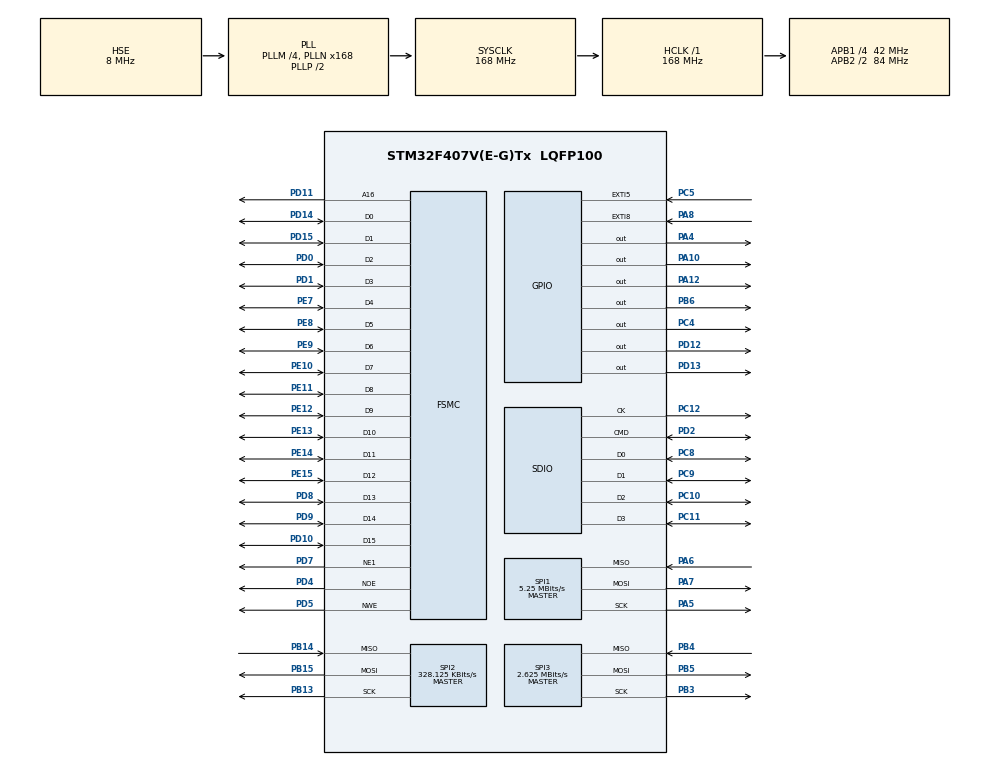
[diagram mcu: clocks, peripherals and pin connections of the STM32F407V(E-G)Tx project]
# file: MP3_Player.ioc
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Dma.Request0=SPI3_TX
Dma.Request1=SDIO_RX
Dma.Request2=SDIO_TX
Dma.SDIO_RX.1.Direction=DMA_PERIPH_TO_MEMORY
Dma.SDIO_RX.1.FIFOMode=DMA_FIFOMODE_ENABLE
Dma.SDIO_RX.1.FIFOThreshold=DMA_FIFO_THRESHOLD_FULL
Dma.SDIO_RX.1.Instance=DMA2_Stream3
Dma.SDIO_RX.1.MemBurst=DMA_MBURST_INC4
Dma.SDIO_RX.1.MemDataAlignment=DMA_MDATAALIGN_WORD
Dma.SDIO_RX.1.MemInc=DMA_MINC_ENABLE
Dma.SDIO_RX.1.Mode=DMA_PFCTRL
Dma.SDIO_RX.1.PeriphBurst=DMA_PBURST_INC4
Dma.SDIO_RX.1.PeriphDataAlignment=DMA_PDATAALIGN_WORD
Dma.SDIO_RX.1.PeriphInc=DMA_PINC_DISABLE
Dma.SDIO_RX.1.Priority=DMA_PRIORITY_HIGH
Dma.SDIO_TX.2.Direction=DMA_MEMORY_TO_PERIPH
Dma.SDIO_TX.2.FIFOMode=DMA_FIFOMODE_ENABLE
Dma.SDIO_TX.2.FIFOThreshold=DMA_FIFO_THRESHOLD_FULL
Dma.SDIO_TX.2.Instance=DMA2_Stream6
Dma.SDIO_TX.2.MemBurst=DMA_MBURST_INC4
Dma.SDIO_TX.2.MemDataAlignment=DMA_MDATAALIGN_WORD
Dma.SDIO_TX.2.MemInc=DMA_MINC_ENABLE
Dma.SDIO_TX.2.Mode=DMA_PFCTRL
Dma.SDIO_TX.2.PeriphBurst=DMA_PBURST_INC4
Dma.SDIO_TX.2.PeriphDataAlignment=DMA_PDATAALIGN_WORD
Dma.SDIO_TX.2.PeriphInc=DMA_PINC_DISABLE
Dma.SDIO_TX.2.Priority=DMA_PRIORITY_HIGH
Dma.SPI3_TX.0.Direction=DMA_MEMORY_TO_PERIPH
Dma.SPI3_TX.0.FIFOMode=DMA_FIFOMODE_ENABLE
Dma.SPI3_TX.0.FIFOThreshold=DMA_FIFO_THRESHOLD_FULL
Dma.SPI3_TX.0.Instance=DMA1_Stream7
Dma.SPI3_TX.0.MemBurst=DMA_MBURST_SINGLE
Dma.SPI3_TX.0.MemDataAlignment=DMA_MDATAALIGN_WORD
Dma.SPI3_TX.0.MemInc=DMA_MINC_ENABLE
Dma.SPI3_TX.0.Mode=DMA_NORMAL
Dma.SPI3_TX.0.PeriphBurst=DMA_PBURST_SINGLE
Dma.SPI3_TX.0.PeriphDataAlignment=DMA_PDATAALIGN_BYTE
Dma.SPI3_TX.0.PeriphInc=DMA_PINC_DISABLE
Dma.SPI3_TX.0.Priority=DMA_PRIORITY_LOW
FATFS._FS_EXFAT=0
FREERTOS.INCLUDE_eTaskGetState=1
FREERTOS.INCLUDE_xTaskGetCurrentTaskHandle=1
FREERTOS.INCLUDE_xTaskGetHandle=1
FREERTOS.Tasks01=defaultTask,0,128,StartDefaultTask,Default,NULL,Dynamic,NULL,NULL;TouchTask,2,256,StartTouchTask,Default,NULL,Dynamic,NULL,NULL;GuiTask,0,512,StartGuiTask,Default,NULL,Dynamic,NULL,NULL;SoundTask,2,256,StartSoundTask,Default,NULL,Dynamic,NULL,NULL
FSMC.AddressSetupTime1=5
FSMC.BusTurnAroundDuration1=0
FSMC.DataSetupTime1=5
Mcu.Family=STM32F4
Mcu.Name=STM32F407V(E-G)Tx
Mcu.Package=LQFP100
NVIC.DMA1_Stream7_IRQn=true\:5\:0\:true\:false\:true\:true\:false
NVIC.DMA2_Stream3_IRQn=true\:5\:0\:false\:false\:true\:true\:false
NVIC.DMA2_Stream6_IRQn=true\:5\:0\:false\:false\:true\:true\:false
NVIC.EXTI9_5_IRQn=true\:5\:0\:false\:false\:true\:true\:true
NVIC.PriorityGroup=NVIC_PRIORITYGROUP_4
NVIC.SDIO_IRQn=true\:5\:0\:false\:false\:true\:true\:true
PA10.GPIO_Speed=GPIO_SPEED_FREQ_HIGH
PA10.Signal=GPIO_Output
PA12.GPIO_Speed=GPIO_SPEED_FREQ_HIGH
PA12.Signal=GPIO_Output
PA13.Mode=Serial_Wire
PA13.Signal=SYS_JTMS-SWDIO
PA14.Mode=Serial_Wire
PA14.Signal=SYS_JTCK-SWCLK
PA4.GPIO_Speed=GPIO_SPEED_FREQ_HIGH
PA4.Signal=GPIO_Output
PA5.Mode=Full_Duplex_Master
PA5.Signal=SPI1_SCK
PA6.Mode=Full_Duplex_Master
PA6.Signal=SPI1_MISO
PA7.Mode=Full_Duplex_Master
PA7.Signal=SPI1_MOSI
PA8.GPIO_ModeDefaultEXTI=GPIO_MODE_IT_RISING
PA8.Signal=GPXTI8
PB13.Mode=Full_Duplex_Master
PB13.Signal=SPI2_SCK
PB14.Mode=Full_Duplex_Master
PB14.Signal=SPI2_MISO
PB15.Mode=Full_Duplex_Master
PB15.Signal=SPI2_MOSI
PB3.Mode=Full_Duplex_Master
PB3.Signal=SPI3_SCK
PB4.Mode=Full_Duplex_Master
PB4.Signal=SPI3_MISO
PB5.Mode=Full_Duplex_Master
PB5.Signal=SPI3_MOSI
PB6.GPIO_Speed=GPIO_SPEED_FREQ_HIGH
PB6.Signal=GPIO_Output
PC10.Mode=SD_4_bits_Wide_bus
PC10.Signal=SDIO_D2
PC11.Mode=SD_4_bits_Wide_bus
PC11.Signal=SDIO_D3
PC12.Mode=SD_4_bits_Wide_bus
PC12.Signal=SDIO_CK
PC4.GPIO_Speed=GPIO_SPEED_FREQ_HIGH
PC4.Signal=GPIO_Output
PC5.Signal=GPXTI5
PC8.Mode=SD_4_bits_Wide_bus
PC8.Signal=SDIO_D0
PC9.Mode=SD_4_bits_Wide_bus
PC9.Signal=SDIO_D1
PD0.Mode=16b-d1
PD0.Signal=FSMC_D2
PD1.Mode=16b-d1
PD1.Signal=FSMC_D3
PD10.Mode=16b-d1
PD10.Signal=FSMC_D15
PD11.Mode=A16_1
PD11.Signal=FSMC_A16
PD12.GPIO_Speed=GPIO_SPEED_FREQ_HIGH
PD12.Signal=GPIO_Output
PD13.GPIO_Speed=GPIO_SPEED_FREQ_HIGH
PD13.Signal=GPIO_Output
PD14.Mode=16b-d1
PD14.Signal=FSMC_D0
PD15.Mode=16b-d1
PD15.Signal=FSMC_D1
PD2.Mode=SD_4_bits_Wide_bus
PD2.Signal=SDIO_CMD
PD4.Mode=Lcd1
PD4.Signal=FSMC_NOE
PD5.Mode=Lcd1
PD5.Signal=FSMC_NWE
PD7.Mode=NorPsramChipSelect1_1
PD7.Signal=FSMC_NE1
PD8.Mode=16b-d1
PD8.Signal=FSMC_D13
PD9.Mode=16b-d1
PD9.Signal=FSMC_D14
PE10.Mode=16b-d1
PE10.Signal=FSMC_D7
PE11.Mode=16b-d1
PE11.Signal=FSMC_D8
PE12.Mode=16b-d1
PE12.Signal=FSMC_D9
PE13.Mode=16b-d1
PE13.Signal=FSMC_D10
PE14.Mode=16b-d1
PE14.Signal=FSMC_D11
PE15.Mode=16b-d1
PE15.Signal=FSMC_D12
PE7.Mode=16b-d1
PE7.Signal=FSMC_D4
PE8.Mode=16b-d1
PE8.Signal=FSMC_D5
PE9.Mode=16b-d1
PE9.Signal=FSMC_D6
PH0-OSC_IN.Mode=HSE-External-Oscillator
PH0-OSC_IN.Signal=RCC_OSC_IN
PH1-OSC_OUT.Mode=HSE-External-Oscillator
PH1-OSC_OUT.Signal=RCC_OSC_OUT
ProjectManager.HeapSize=0x200
ProjectManager.StackSize=0x400
ProjectManager.TargetToolchain=MDK-ARM V5
RCC.48MHZClocksFreq_Value=48000000
RCC.AHBFreq_Value=168000000
RCC.APB1CLKDivider=RCC_HCLK_DIV4
RCC.APB1Freq_Value=42000000
RCC.APB1TimFreq_Value=84000000
RCC.APB2CLKDivider=RCC_HCLK_DIV2
RCC.APB2Freq_Value=84000000
RCC.APB2TimFreq_Value=168000000
RCC.CortexFreq_Value=168000000
RCC.HCLKFreq_Value=168000000
RCC.HSE_VALUE=8000000
RCC.HSI_VALUE=16000000
RCC.LSE_VALUE=32768
RCC.PLLM=4
RCC.PLLN=168
RCC.PLLQ=7
RCC.PLLSourceVirtual=RCC_PLLSOURCE_HSE
RCC.SYSCLKFreq_VALUE=168000000
RCC.SYSCLKSource=RCC_SYSCLKSOURCE_PLLCLK
RCC.VCOOutputFreq_Value=336000000
SDIO.ClockDiv=0
SPI1.BaudRatePrescaler=SPI_BAUDRATEPRESCALER_16
SPI1.CLKPhase=SPI_PHASE_2EDGE
SPI1.CLKPolarity=SPI_POLARITY_HIGH
SPI1.CalculateBaudRate=5.25 MBits/s
SPI1.Direction=SPI_DIRECTION_2LINES
SPI1.Mode=SPI_MODE_MASTER
SPI1.VirtualType=VM_MASTER
SPI2.BaudRatePrescaler=SPI_BAUDRATEPRESCALER_128
SPI2.CalculateBaudRate=328.125 KBits/s
SPI2.Direction=SPI_DIRECTION_2LINES
SPI2.Mode=SPI_MODE_MASTER
SPI2.VirtualType=VM_MASTER
SPI3.BaudRatePrescaler=SPI_BAUDRATEPRESCALER_16
SPI3.CLKPhase=SPI_PHASE_2EDGE
SPI3.CLKPolarity=SPI_POLARITY_HIGH
SPI3.CalculateBaudRate=2.625 MBits/s
SPI3.Direction=SPI_DIRECTION_2LINES
SPI3.Mode=SPI_MODE_MASTER
SPI3.VirtualType=VM_MASTER
VP_FATFS_VS_SDIO.Mode=SDIO
VP_FREERTOS_VS_ENABLE.Mode=Enabled
board=MP3_Player

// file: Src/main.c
/**
  ******************************************************************************
  * File Name          : main.c
  * Description        : Main program body
  ******************************************************************************
  * This notice applies to any and all portions of this file
  * that are not between comment pairs USER CODE BEGIN and
  * USER CODE END. Other portions of this file, whether
  * inserted by the user or by software development tools
  * are owned by their respective copyright owners.
  *
  * Copyright (c) 2018 STMicroelectronics International N.V.
  * All rights reserved.
  *
  * Redistribution and use in source and binary forms, with or without
  * modification, are permitted, provided that the following conditions are met:
  *
  * 1. Redistribution of source code must retain the above copyright notice,
  *    this list of conditions and the following disclaimer.
  * 2. Redistributions in binary form must reproduce the above copyright notice,
  *    this list of conditions and the following disclaimer in the documentation
  *    and/or other materials provided with the distribution.
  * 3. Neither the name of STMicroelectronics nor the names of other
  *    contributors to this software may be used to endorse or promote products
  *    derived from this software without specific written permission.
  * 4. This software, including modifications and/or derivative works of this
  *    software, must execute solely and exclusively on microcontroller or
  *    microprocessor devices manufactured by or for STMicroelectronics.
  * 5. Redistribution and use of this software other than as permitted under
  *    this license is void and will automatically terminate your rights under
  *    this license.
  *
  * THIS SOFTWARE IS PROVIDED BY STMICROELECTRONICS AND CONTRIBUTORS "AS IS"
  * AND ANY EXPRESS, IMPLIED OR STATUTORY WARRANTIES, INCLUDING, BUT NOT
  * LIMITED TO, THE IMPLIED WARRANTIES OF MERCHANTABILITY, FITNESS FOR A
  * PARTICULAR PURPOSE AND NON-INFRINGEMENT OF THIRD PARTY INTELLECTUAL PROPERTY
  * RIGHTS ARE DISCLAIMED TO THE FULLEST EXTENT PERMITTED BY LAW. IN NO EVENT
  * SHALL STMICROELECTRONICS OR CONTRIBUTORS BE LIABLE FOR ANY DIRECT, INDIRECT,
  * INCIDENTAL, SPECIAL, EXEMPLARY, OR CONSEQUENTIAL DAMAGES (INCLUDING, BUT NOT
  * LIMITED TO, PROCUREMENT OF SUBSTITUTE GOODS OR SERVICES; LOSS OF USE, DATA,
  * OR PROFITS; OR BUSINESS INTERRUPTION) HOWEVER CAUSED AND ON ANY THEORY OF
  * LIABILITY, WHETHER IN CONTRACT, STRICT LIABILITY, OR TORT (INCLUDING
  * NEGLIGENCE OR OTHERWISE) ARISING IN ANY WAY OUT OF THE USE OF THIS SOFTWARE,
  * EVEN IF ADVISED OF THE POSSIBILITY OF SUCH DAMAGE.
  *
  ******************************************************************************
  */

#include "main.h"
#include "stm32f4xx_hal.h"
#include "cmsis_os.h"
#include "dma.h"
#include "fatfs.h"
#include "sdio.h"
#include "spi.h"
#include "gpio.h"
#include "fsmc.h"

/* USER CODE BEGIN PV */
/* Private variables ---------------------------------------------------------*/

/* USER CODE END PV */

void SystemClock_Config(void);
void MX_FREERTOS_Init(void);

/* USER CODE BEGIN PFP */
/* Private function prototypes -----------------------------------------------*/

/* USER CODE END PFP */

int main(void)
{

  /* MCU Configuration----------------------------------------------------------*/

  /* Reset of all peripherals, Initializes the Flash interface and the Systick. */
  HAL_Init();

  /* Configure the system clock */
  SystemClock_Config();

  /* Initialize all configured peripherals */
  MX_GPIO_Init();
  MX_DMA_Init();
  MX_FSMC_Init();
  MX_SPI2_Init();
  MX_SPI1_Init();
  MX_SDIO_SD_Init();
  MX_SPI3_Init();

  /* Call init function for freertos objects (in freertos.c) */
  MX_FREERTOS_Init();

  /* Start scheduler */
  osKernelStart();

  /* We should never get here as control is now taken by the scheduler */

  /* Infinite loop */
  while (1)
  {

  }

}

/** System Clock Configuration
*/
void SystemClock_Config(void)
{

  RCC_OscInitTypeDef RCC_OscInitStruct;
  RCC_ClkInitTypeDef RCC_ClkInitStruct;

    /**Configure the main internal regulator output voltage
    */
  __HAL_RCC_PWR_CLK_ENABLE();

  __HAL_PWR_VOLTAGESCALING_CONFIG(PWR_REGULATOR_VOLTAGE_SCALE1);

    /**Initializes the CPU, AHB and APB busses clocks
    */
  RCC_OscInitStruct.OscillatorType = RCC_OSCILLATORTYPE_HSE;
  RCC_OscInitStruct.HSEState = RCC_HSE_ON;
  RCC_OscInitStruct.PLL.PLLState = RCC_PLL_ON;
  RCC_OscInitStruct.PLL.PLLSource = RCC_PLLSOURCE_HSE;
  RCC_OscInitStruct.PLL.PLLM = 4;
  RCC_OscInitStruct.PLL.PLLN = 168;
  RCC_OscInitStruct.PLL.PLLP = RCC_PLLP_DIV2;
  RCC_OscInitStruct.PLL.PLLQ = 7;
  if (HAL_RCC_OscConfig(&RCC_OscInitStruct) != HAL_OK)
  {
    _Error_Handler(__FILE__, __LINE__);
  }

    /**Initializes the CPU, AHB and APB busses clocks
    */
  RCC_ClkInitStruct.ClockType = RCC_CLOCKTYPE_HCLK|RCC_CLOCKTYPE_SYSCLK
                              |RCC_CLOCKTYPE_PCLK1|RCC_CLOCKTYPE_PCLK2;
  RCC_ClkInitStruct.SYSCLKSource = RCC_SYSCLKSOURCE_PLLCLK;
  RCC_ClkInitStruct.AHBCLKDivider = RCC_SYSCLK_DIV1;
  RCC_ClkInitStruct.APB1CLKDivider = RCC_HCLK_DIV4;
  RCC_ClkInitStruct.APB2CLKDivider = RCC_HCLK_DIV2;

  if (HAL_RCC_ClockConfig(&RCC_ClkInitStruct, FLASH_LATENCY_5) != HAL_OK)
  {
    _Error_Handler(__FILE__, __LINE__);
  }

    /**Configure the Systick interrupt time
    */
  HAL_SYSTICK_Config(HAL_RCC_GetHCLKFreq()/1000);

    /**Configure the Systick
    */
  HAL_SYSTICK_CLKSourceConfig(SYSTICK_CLKSOURCE_HCLK);

  /* SysTick_IRQn interrupt configuration */
  HAL_NVIC_SetPriority(SysTick_IRQn, 15, 0);
}

void _Error_Handler(char * file, int line)
{
  while(1)
  {
  }
}

/************************ (C) COPYRIGHT STMicroelectronics *****END OF FILE****/

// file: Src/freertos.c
/**
  ******************************************************************************
  * File Name          : freertos.c
  * Description        : Code for freertos applications
  ******************************************************************************
  * This notice applies to any and all portions of this file
  * that are not between comment pairs USER CODE BEGIN and
  * USER CODE END. Other portions of this file, whether
  * inserted by the user or by software development tools
  * are owned by their respective copyright owners.
  *
  * Copyright (c) 2018 STMicroelectronics International N.V.
  * All rights reserved.
  *
  * Redistribution and use in source and binary forms, with or without
  * modification, are permitted, provided that the following conditions are met:
  *
  * 1. Redistribution of source code must retain the above copyright notice,
  *    this list of conditions and the following disclaimer.
  * 2. Redistributions in binary form must reproduce the above copyright notice,
  *    this list of conditions and the following disclaimer in the documentation
  *    and/or other materials provided with the distribution.
  * 3. Neither the name of STMicroelectronics nor the names of other
  *    contributors to this software may be used to endorse or promote products
  *    derived from this software without specific written permission.
  * 4. This software, including modifications and/or derivative works of this
  *    software, must execute solely and exclusively on microcontroller or
  *    microprocessor devices manufactured by or for STMicroelectronics.
  * 5. Redistribution and use of this software other than as permitted under
  *    this license is void and will automatically terminate your rights under
  *    this license.
  *
  * THIS SOFTWARE IS PROVIDED BY STMICROELECTRONICS AND CONTRIBUTORS "AS IS"
  * AND ANY EXPRESS, IMPLIED OR STATUTORY WARRANTIES, INCLUDING, BUT NOT
  * LIMITED TO, THE IMPLIED WARRANTIES OF MERCHANTABILITY, FITNESS FOR A
  * PARTICULAR PURPOSE AND NON-INFRINGEMENT OF THIRD PARTY INTELLECTUAL PROPERTY
  * RIGHTS ARE DISCLAIMED TO THE FULLEST EXTENT PERMITTED BY LAW. IN NO EVENT
  * SHALL STMICROELECTRONICS OR CONTRIBUTORS BE LIABLE FOR ANY DIRECT, INDIRECT,
  * INCIDENTAL, SPECIAL, EXEMPLARY, OR CONSEQUENTIAL DAMAGES (INCLUDING, BUT NOT
  * LIMITED TO, PROCUREMENT OF SUBSTITUTE GOODS OR SERVICES; LOSS OF USE, DATA,
  * OR PROFITS; OR BUSINESS INTERRUPTION) HOWEVER CAUSED AND ON ANY THEORY OF
  * LIABILITY, WHETHER IN CONTRACT, STRICT LIABILITY, OR TORT (INCLUDING
  * NEGLIGENCE OR OTHERWISE) ARISING IN ANY WAY OUT OF THE USE OF THIS SOFTWARE,
  * EVEN IF ADVISED OF THE POSSIBILITY OF SUCH DAMAGE.
  *
  ******************************************************************************
  */

#include "FreeRTOS.h"
#include "task.h"
#include "cmsis_os.h"
#include "includes.h"
#include "ff_gen_drv.h"
#include "sd_diskio.h"

osThreadId defaultTaskHandle;
osThreadId TouchTaskHandle;
osThreadId GuiTaskHandle;
osThreadId SoundTaskHandle;
osThreadId FileTaskHandle;

/* USER CODE BEGIN Variables */
static const TCHAR * AvailableExt[] = {
	"MP3",
	"WAV",
	0
};
/* USER CODE END Variables */

void StartDefaultTask(void const * argument);
void StartTouchTask(void const * argument);
void StartGuiTask(void const * argument);
void StartSoundTask(void const * argument);
void StartFileTask(void const * argument);

extern void MX_FATFS_Init(void);
void MX_FREERTOS_Init(void); /* (MISRA C 2004 rule 8.1) */

/* Hook prototypes */

/* Init FreeRTOS */

void MX_FREERTOS_Init(void)
{
  /* USER CODE BEGIN Init */

	LCD_Initializtion();
	HAL_Delay(500);
	GUI_Init();
	SD_Msg_Init();
	VS1003_Init();
	VS1003_Reset();
	VS1003_SoftReset();
  /* USER CODE END Init */

  /* Create the thread(s) */
  /* definition and creation of defaultTask */
//  osThreadDef(defaultTask, StartDefaultTask, osPriorityNormal, 0, 128);
//  defaultTaskHandle = osThreadCreate(osThread(defaultTask), NULL);

  /* definition and creation of TouchTask */
  osThreadDef(TouchTask, StartTouchTask, osPriorityAboveNormal, 0, 256);
  TouchTaskHandle = osThreadCreate(osThread(TouchTask), NULL);

  /* definition and creation of GuiTask */
  osThreadDef(GuiTask, StartGuiTask, osPriorityNormal, 0, 512);
  GuiTaskHandle = osThreadCreate(osThread(GuiTask), NULL);

  /* definition and creation of SoundTask */

}

/* StartDefaultTask function */
void StartDefaultTask(void const * argument)
{

  /* USER CODE BEGIN StartDefaultTask */
  /* Infinite loop */
  for(;;)
  {
    osDelay(500);
  }
  /* USER CODE END StartDefaultTask */
}

/* StartTouchTask function */
void StartTouchTask(void const * argument)
{
  /* USER CODE BEGIN StartTouchTask */
  /* Infinite loop */
  for(;;)
  {
	GUI_TOUCH_Exec();
	osDelay(100);
  }
  /* USER CODE END StartTouchTask */
}

/* StartGuiTask function */
void StartGuiTask(void const * argument)
{
	int list_now=0, list_prev=0;
	int btn_now=0, btn_prev=0;
	int type;
	char * name;
	LISTBOX_Handle hListBox;
  /* USER CODE BEGIN StartGuiTask */

	osThreadDef(FileTask, StartFileTask, osPriorityAboveNormal, 0, 512);
	/* init code for FATFS */
	MX_FATFS_Init();
	// Mount FileSystem
	type = FileSystem_Init();

	// Touch Calibration
	_ExecCalibration();
	GUI_Clear();

	// Create WMGUI
	CreateUserGUI();

	// Get current directory contents
	GetCurrentDir();
	// Update File list to Listbox
	hListBox = GUI_GetListBoxHandle();
	UpdateList(hListBox);
	GUI_SetDirPath(GetCurrentFilePath());
	// set default volume
	Sound_ControlVolume(SOUND_VOLUME_DEF);
	GUI_SetVolume(Sound_GetVolume());
	//Sound_VolOff();
	// validate GUI
	WM_ExecIdle();
	MemAlloc();

	if(type == 0)
	{
		GUI_SetCurrentState("mount fail");
	}

  /* Infinite loop */
  for(;;)
  {
	list_now = LISTBOX_GetSel(hListBox);
	if(list_now != list_prev)
	{
		list_prev = list_now;
		type = ToSelecteDir(hListBox, list_now);
		if(type == TYPE_DIRECTORY || type == TYPE_UPPER)
		{
			GetCurrentDir();
			UpdateList(hListBox);
			GUI_SetDirPath(GetCurrentFilePath());
		}
		if(type == TYPE_FILE)
		{
			if(CheckSelectedFileExtension(hListBox, list_now, AvailableExt))
			{
				if(GetPlayState() != SOUND_PLAY_NONE)
				{
					GUI_SetCurrentState("Force Stop...");
					Sound_ReqEnd();
					osSignalWait(PLAY_SOUND_CPLT, osWaitForever);
					osDelay(30);
				}
				name = GetSelectedFilePath(hListBox, list_now);
				FileTaskHandle = osThreadCreate(osThread(FileTask), name);
				if(FileTaskHandle == 0)
					GUI_SetCurrentState("File Task Failed");
				else
					GUI_SetCurrentState("Start");
			}
			else
			{
				GUI_SetCurrentState("Can't Play");
			}
		}
	}
	btn_now = GUI_GetKey();
	if((btn_now == 0) && (btn_now != btn_prev))
	{
		switch(btn_prev)
		{
			case BTN_BACK_ID:
				ToUpperDir();
				GetCurrentDir();
				UpdateList(hListBox);
				GUI_SetDirPath(GetCurrentFilePath());
				break;
			case BTN_SELECT_ID:
				VS1003_SineTest();
				break;
			case BTN_STOP_ID:
				if(GetPlayState() != SOUND_PLAY_NONE)
				{
					//osSignalSet(FileTaskHandle, PLAY_STOP);
					Sound_ReqEnd();
					osSignalWait(PLAY_SOUND_CPLT, osWaitForever);
					osDelay(30);
				}
				break;
			case BTN_VOL_UP_ID:
				Sound_ControlVolume(SOUND_VOLUME_UP);
				GUI_SetVolume(Sound_GetVolume());
				break;
			case BTN_VOL_DN_ID:
				Sound_ControlVolume(SOUND_VOLUME_DN);
				GUI_SetVolume(Sound_GetVolume());
				break;
			case BTN_PAUSE_ID:
				if(GetPlayState() != SOUND_PLAY_NONE)
				{
					if(GetPlayState() == SOUND_PLAY_PAUSE)
					{
						GUI_SetPause(GUI_BTN_PAUSE_OFF);
						SetPlayState(SOUND_PLAY_PLAYING);
						osThreadResume(FileTaskHandle);
						osThreadResume(SoundTaskHandle);
					}
					else
					{
						GUI_SetPause(GUI_BTN_PAUSE_ON);
						SetPlayState(SOUND_PLAY_PAUSE);
						osThreadSuspend(FileTaskHandle);
						osThreadSuspend(SoundTaskHandle);
					}
				}
				break;
		}
	}
	btn_prev = btn_now;

	Sound_SetVolume(GUI_GetVolume());
	//GUI_Text(90,0,(uint8_t*)"test",Red,Black);
	GUI_Delay(100);
  }
  /* USER CODE END StartGuiTask */
}

uint8_t temp[100];
/* StartSoundTask function */
void StartSoundTask(void const * argument)
{
  /* USER CODE BEGIN StartSoundTask */
  /* Infinite loop */
	for(;;)
	{
		if(SOUND_OK != Sound_Playing())
			break;
		osDelay(1);
	}

	osSignalSet(FileTaskHandle, PLAY_SOUND_END);
    osThreadTerminate(NULL);
  /* USER CODE END StartSoundTask */
}

void StartFileTask(void const * argument)
{
	extern uint32_t sd_error_test;
	TCHAR * path = (TCHAR *)argument;
	sound_result_t ret;
	osThreadDef(SoundTask, StartSoundTask, osPriorityHigh, 0, 512);

	GUI_SetDirPath(path);

	VS1003_SoftReset();
	VS1003_BufferZero();
	Sound_ControlVolume(SOUND_VOLUME_DEF);
	ret = Sound_Init(path);
	if(SOUND_OK != ret)
	{
		switch(ret)
		{
			case SOUND_END:
				GUI_SetCurrentState("Init: FileEnd");
				break;
			case SOUND_ERR:
				GUI_SetCurrentState("Init: Err");
				break;
			case SOUND_OPEN_FAIL:
				sprintf(temp,"Init error: %d  ", sd_error_test);
				GUI_Text(0, 140,(uint8_t*)temp,Red,Black);
				FileSystem_Init();
				GUI_SetCurrentState("Init: Open Fail");
				break;
			case SOUND_READ_FAIL:
				sprintf(temp,"Init error: %d  ", sd_error_test);
				GUI_Text(0, 140,(uint8_t*)temp,Red,Black);
				FileSystem_Init();
				GUI_SetCurrentState("Init: Read Fail");
				break;
			default:
				GUI_SetCurrentState("Init: Undefined");
				break;
		}
		goto sound_end;
	}
	// ���� ��� ������ ����
	SoundTaskHandle = osThreadCreate(osThread(SoundTask), NULL);
	if(SoundTaskHandle == 0)
	{
		GUI_SetCurrentState("Sound Task Failed");
		Sound_Deinit(SOUND_CLOSE_FILE_ON);		// memory free
		osThreadTerminate(NULL);
	}

	ret = Sound_PlayStart();
	if(SOUND_OK != ret)
	{
		switch(ret)
		{
			case SOUND_END:
				GUI_SetCurrentState("Start: FileEnd");
				break;
			case SOUND_ERR:
				GUI_SetCurrentState("Start: Err");
				break;
			case SOUND_OPEN_FAIL:
				sprintf(temp,"Init error: %d  ", sd_error_test);
				GUI_Text(0, 140,(uint8_t*)temp,Red,Black);
				FileSystem_Init();
				GUI_SetCurrentState("Start: Open Fail");
				break;
			case SOUND_READ_FAIL:
				sprintf(temp,"Init error: %d  ", sd_error_test);
				GUI_Text(0, 140,(uint8_t*)temp,Red,Black);
				FileSystem_Init();
				GUI_SetCurrentState("Start: Read Fail");
				break;
			default:
				GUI_SetCurrentState("Start: Undefined");
				break;
		}
		goto sound_end;
	}

	GUI_SetCurrentState("Buffering...");
	for(;;)
	{
		ret = Sound_Buffering();
		if(SOUND_OK != ret)
			break;
		osDelay(10);
	}

	osSignalWait(PLAY_SOUND_END, osWaitForever);
	GUI_SetCurrentState("Stop Completely");

sound_end:
	Sound_Deinit(SOUND_CLOSE_FILE_OFF);		// memory free
	osSignalSet(GuiTaskHandle, PLAY_SOUND_CPLT);
    osThreadTerminate(NULL);
}

/************************ (C) COPYRIGHT STMicroelectronics *****END OF FILE****/
